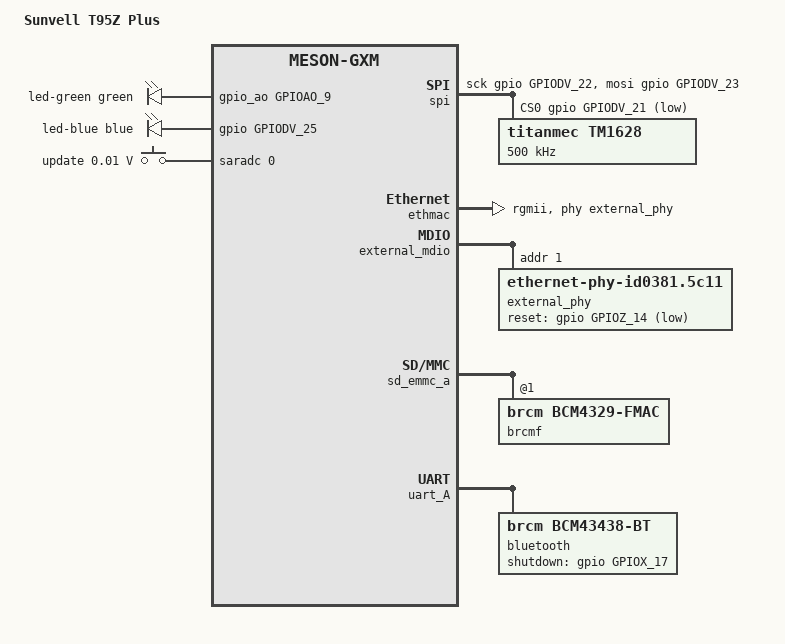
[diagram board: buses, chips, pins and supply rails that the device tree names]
// SPDX-License-Identifier: (GPL-2.0+ OR MIT)
/*
 * Copyright (c) Christian Hewitt <christianshewitt@gmail.com>
 */

/dts-v1/;

#include "meson-gxm.dtsi"
#include "meson-gx-p23x-q20x.dtsi"
#include <dt-bindings/input/input.h>
#include <dt-bindings/leds/common.h>

/ {
	compatible = "sunvell,t95z-plus", "amlogic,s912", "amlogic,meson-gxm";
	model = "Sunvell T95Z Plus";

	leds {
		compatible = "gpio-leds";

		led-green {
			color = <LED_COLOR_ID_GREEN>;
			function = LED_FUNCTION_POWER;
			gpios = <&gpio_ao GPIOAO_9 GPIO_ACTIVE_HIGH>;
			default-state = "on";
		};

		led-blue {
			color = <LED_COLOR_ID_BLUE>;
			function = LED_FUNCTION_POWER;
			gpios = <&gpio GPIODV_25 GPIO_ACTIVE_HIGH>;
			default-state = "off";
			panic-indicator;
		};
	};

	adc-keys {
		compatible = "adc-keys";
		io-channels = <&saradc 0>;
		io-channel-names = "buttons";
		keyup-threshold-microvolt = <1710000>;

		button-function {
			label = "update";
			linux,code = <KEY_VENDOR>;
			press-threshold-microvolt = <10000>;
		};
	};

	spi {
		compatible = "spi-gpio";

		/* T95Z v1 (enabled) */
		sck-gpios = <&gpio GPIODV_22 GPIO_ACTIVE_HIGH>;
		mosi-gpios = <&gpio GPIODV_23 GPIO_ACTIVE_HIGH>;
		cs-gpios = <&gpio GPIODV_21 GPIO_ACTIVE_LOW>;

		/* T95Z v2 (disabled)
		sck-gpios = <&gpio GPIODV_19 GPIO_ACTIVE_HIGH>;
		mosi-gpios = <&gpio GPIODV_18 GPIO_ACTIVE_HIGH>;
		cs-gpios = <&gpio GPIODV_20 GPIO_ACTIVE_LOW>;
		*/

		num-chipselects = <1>;
		#address-cells = <1>;
		#size-cells = <0>;

		tm1628: led-controller@0 {
			compatible = "titanmec,tm1628";
			reg = <0>;
			spi-3wire;
			spi-lsb-first;
			spi-rx-delay-us = <1>;
			spi-max-frequency = <500000>;
			#address-cells = <2>;
			#size-cells = <0>;

			titanmec,segment-mapping = /bits/ 8 <4 5 6 1 2 3 7>;
			titanmec,grid = /bits/ 8 <2 3 4 5 1>;

			alarm@1,1 {
				reg = <1 1>;
				function = LED_FUNCTION_ALARM;
			};

			usb@1,2 {
				reg = <1 2>;
				function = LED_FUNCTION_USB;
			};

			play@1,3 {
				reg = <1 3>;
				function = "play";
			};

			pause@1,4 {
				reg = <1 4>;
				function = "pause";
			};

			colon@1,5 {
				reg = <1 5>;
				function = "colon";
			};

			lan@1,6 {
				reg = <1 6>;
				function = LED_FUNCTION_LAN;
			};

			wlan@1,7 {
				reg = <1 7>;
				function = LED_FUNCTION_WLAN;
			};
		};
	};
};

&ethmac {
	pinctrl-0 = <&eth_pins>;
	pinctrl-names = "default";

	phy-handle = <&external_phy>;
	phy-mode = "rgmii";

	amlogic,tx-delay-ns = <2>;
};

&external_mdio {
	external_phy: ethernet-phy@1 {
		/* ZTE ZX2AA500 */
		compatible = "ethernet-phy-id0381.5c11",
			     "ethernet-phy-ieee802.3-c22";
		reg = <1>;
		max-speed = <1000>;

		reset-assert-us = <10000>;
		reset-deassert-us = <80000>;
		reset-gpios = <&gpio GPIOZ_14 GPIO_ACTIVE_LOW>;

		interrupt-parent = <&gpio_intc>;
		/* MAC_INTR on GPIOZ_15 */
		interrupts = <25 IRQ_TYPE_LEVEL_LOW>;
	};
};

&sd_emmc_a {
	brcmf: wifi@1 {
		reg = <1>;
		compatible = "brcm,bcm4329-fmac";
	};
};

&uart_A {
	status = "okay";
	pinctrl-0 = <&uart_a_pins>, <&uart_a_cts_rts_pins>;
	pinctrl-names = "default";
	uart-has-rtscts;

	bluetooth {
		compatible = "brcm,bcm43438-bt";
		shutdown-gpios = <&gpio GPIOX_17 GPIO_ACTIVE_HIGH>;
		max-speed = <2000000>;
		clocks = <&wifi32k>;
		clock-names = "lpo";
	};
};
